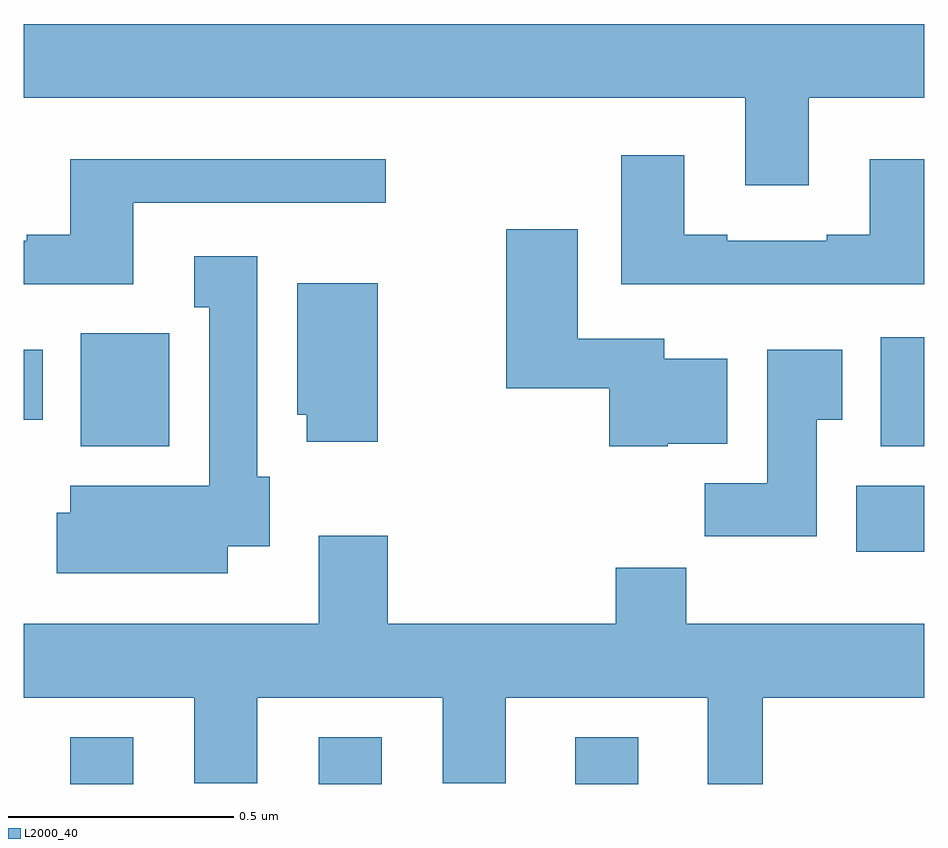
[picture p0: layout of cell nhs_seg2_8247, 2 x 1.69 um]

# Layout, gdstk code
import gdstk
lib = gdstk.Library(unit=1e-6, precision=1e-09)
def R(c, l, rs):  # rectangles x0, y0, x1, y1
    for r in rs: c.add(gdstk.rectangle(r[:2], r[2:], *l))
def P(c, l, *ps):  # polygons
    for p in ps: c.add(gdstk.Polygon(p, *l))
L2000_40 = (2000, 40)

nhs_seg2_8247 = lib.new_cell('nhs_seg2_8247')
R(nhs_seg2_8247, L2000_40, [(214.103,624.8,214.243,624.904), (214.655,624.8,214.795,624.904), (215.225,624.8,215.365,624.904), (215.849,625.316,216,625.462), (214.127,625.55,214.323,625.801), (215.903,625.55,216,625.792), (214,625.609,214.042,625.765)])
P(nhs_seg2_8247, L2000_40, [(215.743,626.324),(216,626.324),(216,626.488),(214,626.488),(214,626.324),(215.603,626.324),(215.603,626.13),(215.743,626.13)],
  [(216,626.188),(215.879,626.188),(215.879,626.02),(215.783,626.02),(215.783,626.007),(215.563,626.007),(215.563,626.02),(215.467,626.02),(215.467,626.197),(215.327,626.197),(215.327,625.91),(216,625.91)],
  [(214.243,626.091),(214.804,626.091),(214.804,626.188),(214.103,626.188),(214.103,626.02),(214.007,626.02),(214.007,626.007),(214,626.007),(214,625.91),(214.243,625.91)],
  [(215.43,625.556),(215.563,625.556),(215.563,625.744),(215.422,625.744),(215.422,625.789),(215.23,625.789),(215.23,626.032),(215.072,626.032),(215.072,625.679),(215.3,625.679),(215.3,625.55),(215.43,625.55)],
  [(214.453,625.328),(214.546,625.328),(214.546,625.482),(214.519,625.482),(214.519,625.972),(214.379,625.972),(214.379,625.859),(214.412,625.859),(214.412,625.462),(214.103,625.462),(214.103,625.403),(214.073,625.403),(214.073,625.268),(214.453,625.268)],
  [(214.786,625.912),(214.607,625.912),(214.607,625.62),(214.628,625.62),(214.628,625.56),(214.786,625.56)],
  [(215.761,625.609),(215.818,625.609),(215.818,625.765),(215.651,625.765),(215.651,625.468),(215.512,625.468),(215.512,625.35),(215.761,625.35)],
  [(215.641,624.992),(216,624.992),(216,625.156),(215.471,625.156),(215.471,625.28),(215.315,625.28),(215.315,625.156),(214.808,625.156),(214.808,625.351),(214.655,625.351),(214.655,625.156),(214,625.156),(214,624.992),(214.379,624.992),(214.379,624.802),(214.519,624.802),(214.519,624.992),(214.931,624.992),(214.931,624.802),(215.07,624.802),(215.07,624.992),(215.519,624.992),(215.519,624.8),(215.641,624.8)])

lib.write_gds('nhs_seg2_8247.gds')
